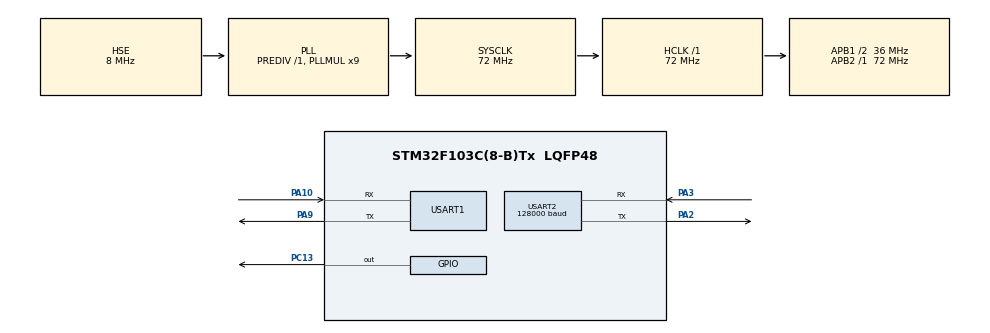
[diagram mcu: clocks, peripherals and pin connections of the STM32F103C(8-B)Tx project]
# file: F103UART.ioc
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Mcu.Family=STM32F1
Mcu.Name=STM32F103C(8-B)Tx
Mcu.Package=LQFP48
NVIC.PriorityGroup=NVIC_PRIORITYGROUP_4
PA10.Mode=Asynchronous
PA10.Signal=USART1_RX
PA13.Mode=Serial_Wire
PA13.Signal=SYS_JTMS-SWDIO
PA14.Mode=Serial_Wire
PA14.Signal=SYS_JTCK-SWCLK
PA2.Mode=Asynchronous
PA2.Signal=USART2_TX
PA3.Mode=Asynchronous
PA3.Signal=USART2_RX
PA9.Mode=Asynchronous
PA9.Signal=USART1_TX
PC13-TAMPER-RTC.Signal=GPIO_Output
PD0-OSC_IN.Mode=HSE-External-Oscillator
PD0-OSC_IN.Signal=RCC_OSC_IN
PD1-OSC_OUT.Mode=HSE-External-Oscillator
PD1-OSC_OUT.Signal=RCC_OSC_OUT
ProjectManager.HeapSize=0x200
ProjectManager.StackSize=0x400
ProjectManager.TargetToolchain=MDK-ARM V5.32
RCC.AHBFreq_Value=72000000
RCC.APB1CLKDivider=RCC_HCLK_DIV2
RCC.APB1Freq_Value=36000000
RCC.APB1TimFreq_Value=72000000
RCC.APB2Freq_Value=72000000
RCC.APB2TimFreq_Value=72000000
RCC.HCLKFreq_Value=72000000
RCC.PLLMUL=RCC_PLL_MUL9
RCC.PLLSourceVirtual=RCC_PLLSOURCE_HSE
RCC.SYSCLKFreq_VALUE=72000000
RCC.SYSCLKSource=RCC_SYSCLKSOURCE_PLLCLK
RCC.USBFreq_Value=72000000
USART1.VirtualMode=VM_ASYNC
USART2.BaudRate=128000
USART2.VirtualMode=VM_ASYNC
board=custom

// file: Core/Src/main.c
/* USER CODE BEGIN Header */
//此为A板代码
/**
  ******************************************************************************
  * @file           : main.c
  * @brief          : Main program body
  ******************************************************************************
  * @attention
  *
  * Copyright (c) 2025 STMicroelectronics.
  * All rights reserved.
  *
  * This software is licensed under terms that can be found in the LICENSE file
  * in the root directory of this software component.
  * If no LICENSE file comes with this software, it is provided AS-IS.
  *
  ******************************************************************************
  */
/* USER CODE END Header */
#include "main.h"
#include "usart.h"
#include "gpio.h"

/* USER CODE BEGIN PV */
uint8_t Robotac[8] = "Robotac" ;
uint8_t uint8Transmit2Data[8] , uint8Receive2Data[8];
uint8_t uint8Transmit1Data[8] , uint8Receive1Data[8];
/* USER CODE END PV */

void SystemClock_Config(void);

/* USER CODE BEGIN 0 */
void DataRetransmit(uint8_t uData[8])
	{
		uint8_t Address = uData[1];
		uint8_t DataTransmit[8] = "00000000";
		for(int i = 2 ; i <= 7 ; i++)
		{
			DataTransmit[i]=uData[i];
		}
		if(Address == 'B')
			HAL_UART_Transmit(&huart1,DataTransmit,8,10);
		if(Address == 'C')
			HAL_UART_Transmit(&huart2,DataTransmit,8,10);
	}
/* USER CODE END 0 */

int main(void)
{

  /* MCU Configuration--------------------------------------------------------*/

  /* Reset of all peripherals, Initializes the Flash interface and the Systick. */
  HAL_Init();

  /* Configure the system clock */
  SystemClock_Config();

  /* Initialize all configured peripherals */
  MX_GPIO_Init();
  MX_USART1_UART_Init();
  MX_USART2_UART_Init();

  /* Infinite loop */
  /* USER CODE BEGIN WHILE */

//	通信内容前8位为有效内容，第一位为操作码，第二位为地址，后六位为数据
//	操作码：0--无操作
//					R--转发
//	地址：	A--A板
//					B--B板
//					C--串口

  while (1)
  {
		//A板UART1--B板 UART2--串口
		//通信过程：优先接收串口内容并操作，操作结束后接收B板内容并操作
		//HAL_UART_Transmit(&huart2,Robotac,8,0xff);//UART2向串口发送初始数据"Robotac"
		//HAL_Delay(1000);
		HAL_UART_Receive(&huart2,uint8Receive2Data,8,50);//接收串口内容
		if(uint8Receive2Data[0] == 'R')
			DataRetransmit(uint8Receive2Data);
		uint8Receive2Data[0] = '0';

		HAL_UART_Receive(&huart1,uint8Receive1Data,8,50);//接收板B内容
		if(uint8Receive1Data[0] == 'R')
			DataRetransmit(uint8Receive1Data);
		uint8Receive1Data[0] = '0';

		/* USER CODE END WHILE */

  }
}

void SystemClock_Config(void)
{
  RCC_OscInitTypeDef RCC_OscInitStruct = {0};
  RCC_ClkInitTypeDef RCC_ClkInitStruct = {0};

  /** Initializes the RCC Oscillators according to the specified parameters
  * in the RCC_OscInitTypeDef structure.
  */
  RCC_OscInitStruct.OscillatorType = RCC_OSCILLATORTYPE_HSE;
  RCC_OscInitStruct.HSEState = RCC_HSE_ON;
  RCC_OscInitStruct.HSEPredivValue = RCC_HSE_PREDIV_DIV1;
  RCC_OscInitStruct.HSIState = RCC_HSI_ON;
  RCC_OscInitStruct.PLL.PLLState = RCC_PLL_ON;
  RCC_OscInitStruct.PLL.PLLSource = RCC_PLLSOURCE_HSE;
  RCC_OscInitStruct.PLL.PLLMUL = RCC_PLL_MUL9;
  if (HAL_RCC_OscConfig(&RCC_OscInitStruct) != HAL_OK)
  {
    Error_Handler();
  }

  /** Initializes the CPU, AHB and APB buses clocks
  */
  RCC_ClkInitStruct.ClockType = RCC_CLOCKTYPE_HCLK|RCC_CLOCKTYPE_SYSCLK
                              |RCC_CLOCKTYPE_PCLK1|RCC_CLOCKTYPE_PCLK2;
  RCC_ClkInitStruct.SYSCLKSource = RCC_SYSCLKSOURCE_PLLCLK;
  RCC_ClkInitStruct.AHBCLKDivider = RCC_SYSCLK_DIV1;
  RCC_ClkInitStruct.APB1CLKDivider = RCC_HCLK_DIV2;
  RCC_ClkInitStruct.APB2CLKDivider = RCC_HCLK_DIV1;

  if (HAL_RCC_ClockConfig(&RCC_ClkInitStruct, FLASH_LATENCY_2) != HAL_OK)
  {
    Error_Handler();
  }
}

void Error_Handler(void)
{
  __disable_irq();
  while (1)
  {
  }
}
